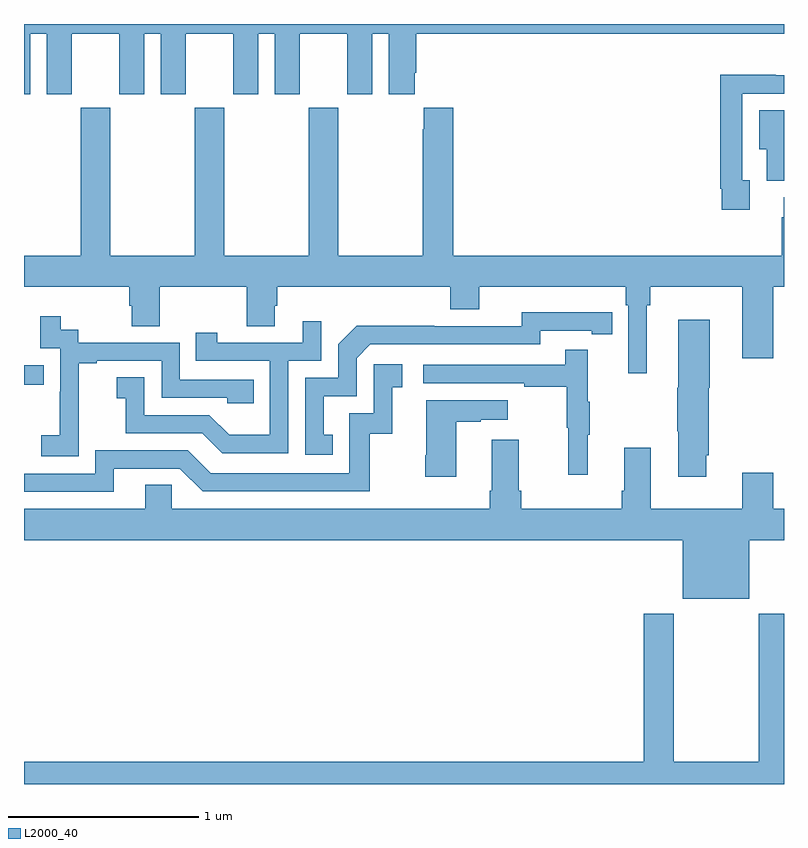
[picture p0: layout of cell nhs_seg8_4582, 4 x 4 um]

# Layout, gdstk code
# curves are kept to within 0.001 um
import gdstk
lib = gdstk.Library(unit=1e-6, precision=1e-09)
def R(c, l, rs):  # rectangles x0, y0, x1, y1
    for r in rs: c.add(gdstk.rectangle(r[:2], r[2:], *l))
def P(c, l, *ps):  # polygons
    for p in ps: c.add(gdstk.Polygon(p, *l))
L2000_40 = (2000, 40)

nhs_seg8_4582 = lib.new_cell('nhs_seg8_4582')
R(nhs_seg8_4582, L2000_40, [(389,1100.002,389.105,1100.103)])
P(nhs_seg8_4582, L2000_40, [(389.032,1101.848),(389.12,1101.848),(389.12,1101.531),(389.251,1101.531),(389.251,1101.848),(389.501,1101.848),(389.501,1101.531),(389.632,1101.531),(389.632,1101.848),(389.72,1101.848),(389.72,1101.531),(389.851,1101.531),(389.851,1101.848),(390.101,1101.848),(390.101,1101.531),(390.232,1101.531),(390.232,1101.848),(390.32,1101.848),(390.32,1101.531),(390.451,1101.531),(390.451,1101.848),(390.701,1101.848),(390.701,1101.531),(390.832,1101.531),(390.832,1101.848),(390.92,1101.848),(390.92,1101.531),(391.057,1101.531),(391.057,1101.643),(391.064,1101.643),(391.064,1101.848),(393,1101.848),(393,1101.9),(389,1101.9),(389,1101.531),(389.032,1101.531)],
  [(392.821,1101.078),(392.781,1101.078),(392.781,1101.534),(393,1101.534),(393,1101.63),(392.957,1101.63),(392.957,1101.632),(392.665,1101.632),(392.665,1101.034),(392.673,1101.034),(392.673,1100.922),(392.821,1100.922)],
  [(392.278,1100.42),(392.297,1100.42),(392.297,1100.516),(392.78,1100.516),(392.78,1100.142),(392.944,1100.142),(392.944,1100.516),(393,1100.516),(393,1100.989),(392.999,1100.989),(392.999,1100.882),(392.987,1100.882),(392.987,1100.68),(391.259,1100.68),(391.259,1101.46),(391.103,1101.46),(391.103,1101.347),(391.099,1101.347),(391.099,1100.68),(390.654,1100.68),(390.654,1101.46),(390.499,1101.46),(390.499,1100.68),(390.054,1100.68),(390.054,1101.46),(389.899,1101.46),(389.899,1100.68),(389.454,1100.68),(389.454,1101.46),(389.299,1101.46),(389.299,1100.68),(389,1100.68),(389,1100.516),(389.555,1100.516),(389.555,1100.418),(389.567,1100.418),(389.567,1100.308),(389.715,1100.308),(389.715,1100.516),(390.172,1100.516),(390.172,1100.308),(390.319,1100.308),(390.319,1100.418),(390.332,1100.418),(390.332,1100.516),(391.244,1100.516),(391.244,1100.399),(391.396,1100.399),(391.396,1100.516),(392.168,1100.516),(392.168,1100.42),(392.181,1100.42),(392.181,1100.061),(392.278,1100.061)],
  [(393,1101.445),(392.87,1101.445),(392.87,1101.242),(392.909,1101.242),(392.909,1101.074),(393,1101.074)],
  [(390.626,1099.737),(390.577,1099.737),(390.577,1099.941),(390.75,1099.941),(390.75,1100.142),(390.822,1100.214),(391.716,1100.214),(391.716,1100.286),(391.988,1100.286),(391.988,1100.266),(392.096,1100.266),(392.096,1100.382),(391.62,1100.383),(391.62,1100.31),(391.16,1100.31),(391.16,1100.312),(390.752,1100.312),(390.654,1100.214),(390.654,1100.037),(390.48,1100.037),(390.48,1099.632),(390.626,1099.632)],
  [(389.289,1099.831),(389.288,1099.831),(389.288,1100.115),(389.383,1100.115),(389.383,1100.127),(389.724,1100.127),(389.724,1099.932),(390.069,1099.932),(390.069,1099.905),(390.209,1099.905),(390.209,1100.028),(389.82,1100.028),(389.82,1100.223),(389.286,1100.223),(389.286,1100.292),(389.194,1100.292),(389.194,1100.362),(389.085,1100.362),(389.085,1100.193),(389.19,1100.193),(389.19,1099.964),(389.189,1099.964),(389.189,1099.735),(389.091,1099.735),(389.091,1099.625),(389.289,1099.625)],
  [(392.59,1099.63),(392.603,1099.63),(392.603,1099.986),(392.608,1099.986),(392.608,1100.344),(392.444,1100.344),(392.444,1099.986),(392.437,1099.986),(392.437,1099.756),(392.444,1099.756),(392.444,1099.518),(392.59,1099.518)],
  [(390.39,1100.127),(390.564,1100.127),(390.564,1100.335),(390.467,1100.335),(390.467,1100.223),(390.016,1100.223),(390.016,1100.275),(389.905,1100.275),(389.905,1100.127),(390.294,1100.127),(390.294,1099.738),(390.08,1099.738),(389.976,1099.842),(389.634,1099.842),(389.634,1100.041),(389.487,1100.041),(389.487,1099.931),(389.536,1099.931),(389.536,1099.746),(389.939,1099.746),(390.044,1099.641),(390.39,1099.641)],
  [(391.967,1099.739),(391.978,1099.739),(391.978,1099.913),(391.967,1099.913),(391.967,1100.185),(391.849,1100.185),(391.849,1100.106),(391.101,1100.106),(391.101,1100.01),(391.633,1100.01),(391.633,1099.99),(391.857,1099.99),(391.857,1099.776),(391.864,1099.776),(391.864,1099.527),(391.967,1099.527)],
  [(389.473,1099.56),(389.82,1099.56),(389.94,1099.44),(390.82,1099.44),(390.82,1099.743),(390.938,1099.743),(390.938,1099.989),(390.991,1099.989),(390.991,1100.11),(390.84,1100.11),(390.84,1099.851),(390.711,1099.851),(390.711,1099.536),(389.982,1099.536),(389.862,1099.656),(389.376,1099.656),(389.376,1099.533),(389,1099.533),(389,1099.437),(389.473,1099.437)],
  [(391.276,1099.807),(391.403,1099.807),(391.403,1099.817),(391.546,1099.817),(391.546,1099.921),(391.118,1099.921),(391.118,1099.63),(391.111,1099.63),(391.111,1099.518),(391.276,1099.518)],
  [(392.818,1099.184),(393,1099.184),(393,1099.348),(392.944,1099.348),(392.944,1099.537),(392.78,1099.537),(392.78,1099.348),(392.299,1099.348),(392.299,1099.669),(392.159,1099.669),(392.159,1099.444),(392.147,1099.444),(392.147,1099.348),(391.616,1099.348),(391.616,1099.444),(391.603,1099.444),(391.603,1099.711),(391.463,1099.711),(391.463,1099.444),(391.451,1099.444),(391.451,1099.348),(389.778,1099.348),(389.778,1099.475),(389.639,1099.475),(389.639,1099.348),(389,1099.348),(389,1099.184),(392.468,1099.184),(392.468,1098.875),(392.818,1098.875)],
  [(393,1098.796),(392.866,1098.796),(392.866,1098.016),(392.421,1098.016),(392.421,1098.796),(392.261,1098.796),(392.261,1098.016),(389,1098.016),(389,1097.9),(393,1097.9)])

lib.write_gds('nhs_seg8_4582.gds')
